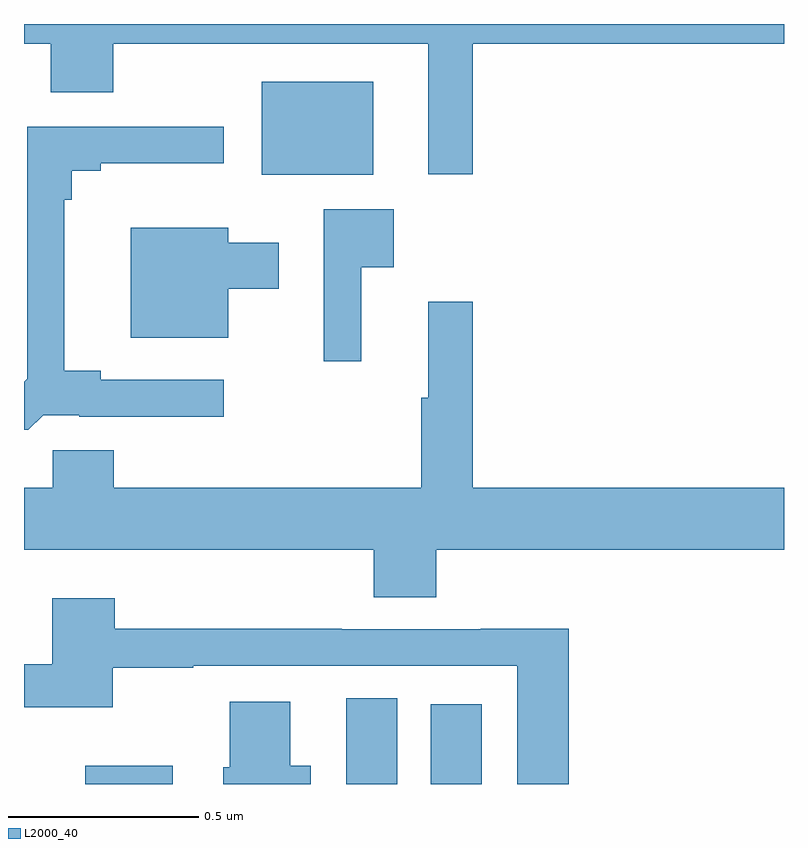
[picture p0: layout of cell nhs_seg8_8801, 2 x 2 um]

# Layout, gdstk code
import gdstk
lib = gdstk.Library(unit=1e-6, precision=1e-09)
def R(c, l, rs):  # rectangles x0, y0, x1, y1
    for r in rs: c.add(gdstk.rectangle(r[:2], r[2:], *l))
def P(c, l, *ps):  # polygons
    for p in ps: c.add(gdstk.Polygon(p, *l))
L2000_40 = (2000, 40)

nhs_seg8_8801 = lib.new_cell('nhs_seg8_8801')
R(nhs_seg8_8801, L2000_40, [(228.161,1099.9,228.391,1099.948), (228.848,1099.9,228.982,1100.126), (229.07,1099.9,229.204,1100.11), (228.626,1101.503,228.919,1101.748)])
P(nhs_seg8_8801, L2000_40, [(229.181,1101.848),(230,1101.848),(230,1101.9),(228,1101.9),(228,1101.848),(228.071,1101.848),(228.071,1101.72),(228.235,1101.72),(228.235,1101.848),(229.064,1101.848),(229.064,1101.504),(229.181,1101.504)],
  [(228.051,1100.871),(228.145,1100.871),(228.145,1100.867),(228.526,1100.867),(228.526,1100.964),(228.202,1100.964),(228.202,1100.987),(228.106,1100.987),(228.106,1101.437),(228.125,1101.437),(228.125,1101.514),(228.202,1101.514),(228.202,1101.533),(228.526,1101.533),(228.526,1101.63),(228.009,1101.63),(228.009,1100.967),(228,1100.958),(228,1100.832),(228.011,1100.832)],
  [(228.887,1101.26),(228.973,1101.26),(228.973,1101.412),(228.789,1101.412),(228.789,1101.012),(228.887,1101.012)],
  [(228.538,1101.203),(228.67,1101.203),(228.67,1101.325),(228.538,1101.325),(228.538,1101.364),(228.281,1101.364),(228.281,1101.074),(228.538,1101.074)],
  [(229.085,1100.516),(230,1100.516),(230,1100.68),(229.181,1100.68),(229.181,1101.169),(229.064,1101.169),(229.064,1100.916),(229.045,1100.916),(229.045,1100.68),(228.236,1100.68),(228.236,1100.778),(228.076,1100.778),(228.076,1100.68),(228,1100.68),(228,1100.516),(228.92,1100.516),(228.92,1100.392),(229.085,1100.392)],
  [(229.433,1100.309),(229.202,1100.309),(229.202,1100.307),(228.836,1100.307),(228.836,1100.309),(228.239,1100.309),(228.239,1100.389),(228.074,1100.389),(228.074,1100.215),(228,1100.215),(228,1100.102),(228.234,1100.102),(228.234,1100.206),(228.446,1100.206),(228.446,1100.211),(229.298,1100.211),(229.298,1099.9),(229.433,1099.9)],
  [(228.754,1099.948),(228.7,1099.948),(228.7,1100.116),(228.542,1100.116),(228.542,1099.944),(228.524,1099.944),(228.524,1099.9),(228.754,1099.9)])

lib.write_gds('nhs_seg8_8801.gds')
